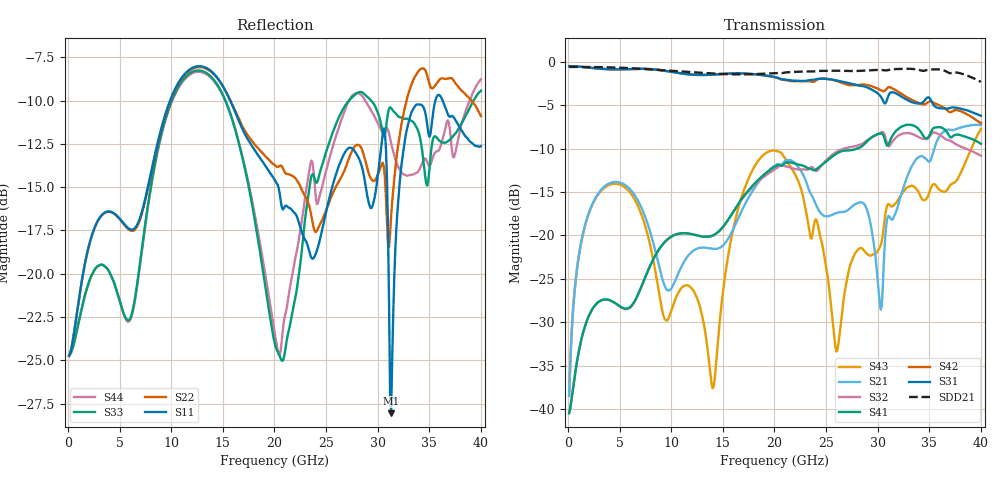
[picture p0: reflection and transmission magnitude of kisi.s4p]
! BV_ts_m2_per0: ThunderScope M.2 PCIe RX lane 0 (PER0_P/N), pair via F.Cu → In3.Cu, pitch 0.53 mm
! stackup: Thunderscope_Rev5.3 from the board file and its kisi.json
! ports: 1 P in, 2 N in, 3 P out, 4 N out
! kisi-fdtd, conformal, dfine 0.0175 mm (the cell at metal ÷ 2), 3756215 cells
# Hz S RI R 50
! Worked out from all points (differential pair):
!   400 points, 100 MHz to 40 GHz, reference 50 ohm
!   strongest paths, dB at 100 MHz, 10.1 GHz, 20.1 GHz, 30.1 GHz, 40 GHz:
!     S31: -0.5, -1.2, -1.8, -3.7, -6.2
!     S42: -0.5, -1.2, -1.8, -3.2, -7.1
!     S41: -40.5, -20.1, -12.0, -8.3, -9.4
!     S32: -40.4, -20.1, -12.3, -8.3, -10.8
!     S21: -38.5, -25.9, -11.9, -26.5, -7.3
!     S43: -38.5, -28.3, -10.3, -21.6, -7.8
!   taken as a pair (ports 1,2 in; 3,4 out), SDD21 dB: -0.6, -1.1, -1.3, -0.9, -2.3
!   lowest |S11| = -28.1 dB at 31.3 GHz (marker M1), VSWR 1.08, Z = 53.7 + j1.86 ohm
!   |S11| at or under -10 dB: start of sweep to 9.882 GHz; 15.71 GHz to 35.59 GHz (19.88 GHz wide, 77.5 % of centre); 36.29 GHz to end of sweep
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1e8  -0.0575 0.00815  0.00962 0.00704  0.9415 -0.0369  0.00912 -0.00248
     0.0096 0.00707  -0.0576 0.00817  0.00919 -0.00264  0.9415 -0.0369
     0.9414 -0.0367  0.00918 -0.00263  -0.0573 0.00745  0.00956 0.00721
     0.00913 -0.00249  0.9414 -0.0368  0.00965 0.00701  -0.0575 0.0076
8.1e9  0.113 0.1653  0.0297 -0.0933  -0.9021 -0.0764  -0.0112 0.0689
       0.0297 -0.0932  0.1106 0.1641  -0.0125 0.0688  -0.9025 -0.0759
       -0.902 -0.0764  -0.0125 0.0687  -0.1094 0.1486  0.0277 -0.0752
       -0.0111 0.0689  -0.9025 -0.0759  0.0277 -0.0751  -0.107 0.1477
1.4e10  0.3701 -0.0924  -0.0204 -0.0813  0.4111 0.7343  0.0822 -0.0566
        -0.0204 -0.0812  0.3706 -0.0827  0.0835 -0.0546  0.4135 0.7332
        0.411 0.7343  0.0835 -0.0546  0.2826 -0.2336  0.0115 0.00668
        0.0821 -0.0566  0.4135 0.7331  0.0114 0.00663  0.274 -0.2393
1.63e10  0.2257 -0.1785  -0.1071 0.0511  0.8419 0.1644  0.0497 -0.1372
         -0.107 0.0511  0.2358 -0.1699  0.0526 -0.135  0.8417 0.1617
         0.842 0.1644  0.0525 -0.135  -0.0662 -0.2455  0.024 0.1274
         0.0498 -0.1373  0.8418 0.1618  0.024 0.1274  -0.0796 -0.2424
2.49e10  -0.0597 0.1333  0.1204 -0.0468  -0.7939 -0.0636  0.0425 0.2596
         0.1203 -0.0467  -0.1041 0.1079  0.0114 0.2666  -0.7957 -0.0704
         -0.7941 -0.0637  0.0114 0.2667  0.0219 0.2186  0.0164 -0.0698
         0.0423 0.2596  -0.7959 -0.0704  0.0158 -0.0698  0.0505 0.1867
3.13e10  0.0355 0.0173  -0.1243 -0.000358  0.4555 0.4871  0.1087 -0.3458
         -0.1237 -0.000918  0.0886 0.1162  0.1031 -0.3222  0.5229 0.4777
         0.4548 0.4863  0.1031 -0.3223  0.2655 -0.1418  0.1469 0.00507
         0.1084 -0.3459  0.5232 0.4778  0.147 0.00457  0.1701 -0.1669
4e10  0.2303 -0.0393  -0.1238 -0.4142  -0.3854 -0.2998  0.2461 0.2305
      -0.124 -0.4133  0.196 -0.2073  0.1151 0.264  -0.3486 -0.2736
      -0.3853 -0.3003  0.1147 0.2635  -0.2752 0.1952  0.0806 0.4016
      0.2464 0.2301  -0.3483 -0.2736  0.081 0.4011  -0.312 0.188
